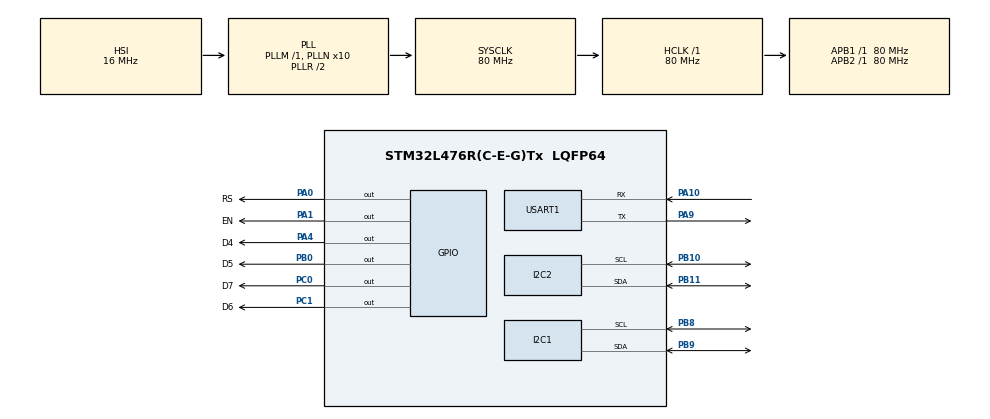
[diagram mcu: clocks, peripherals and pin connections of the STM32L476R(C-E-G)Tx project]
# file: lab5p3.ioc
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Dma.Request0=USART1_RX
Dma.Request1=USART1_TX
Dma.USART1_RX.0.Direction=DMA_PERIPH_TO_MEMORY
Dma.USART1_RX.0.Instance=DMA1_Channel5
Dma.USART1_RX.0.MemDataAlignment=DMA_MDATAALIGN_BYTE
Dma.USART1_RX.0.MemInc=DMA_MINC_ENABLE
Dma.USART1_RX.0.Mode=DMA_CIRCULAR
Dma.USART1_RX.0.PeriphDataAlignment=DMA_PDATAALIGN_BYTE
Dma.USART1_RX.0.PeriphInc=DMA_PINC_DISABLE
Dma.USART1_RX.0.Priority=DMA_PRIORITY_LOW
Dma.USART1_TX.1.Direction=DMA_MEMORY_TO_PERIPH
Dma.USART1_TX.1.Instance=DMA1_Channel4
Dma.USART1_TX.1.MemDataAlignment=DMA_MDATAALIGN_BYTE
Dma.USART1_TX.1.MemInc=DMA_MINC_ENABLE
Dma.USART1_TX.1.Mode=DMA_CIRCULAR
Dma.USART1_TX.1.PeriphDataAlignment=DMA_PDATAALIGN_BYTE
Dma.USART1_TX.1.PeriphInc=DMA_PINC_DISABLE
Dma.USART1_TX.1.Priority=DMA_PRIORITY_LOW
I2C1.Timing=0x10D19CE4
I2C2.Timing=0x10D19CE4
Mcu.Family=STM32L4
Mcu.Name=STM32L476R(C-E-G)Tx
Mcu.Package=LQFP64
NVIC.DMA1_Channel4_IRQn=true\:0\:0\:false\:false\:true\:false\:true\:true
NVIC.DMA1_Channel5_IRQn=true\:0\:0\:false\:false\:true\:false\:true\:true
NVIC.I2C1_ER_IRQn=true\:0\:0\:false\:false\:true\:true\:true\:true
NVIC.I2C1_EV_IRQn=true\:0\:0\:false\:false\:true\:true\:true\:true
NVIC.I2C2_ER_IRQn=true\:0\:0\:false\:false\:true\:true\:true\:true
NVIC.I2C2_EV_IRQn=true\:0\:0\:false\:false\:true\:true\:true\:true
NVIC.PriorityGroup=NVIC_PRIORITYGROUP_4
PA0.GPIO_Label=RS
PA0.Signal=GPIO_Output
PA1.GPIO_Label=EN
PA1.Signal=GPIO_Output
PA10.Mode=Asynchronous
PA10.Signal=USART1_RX
PA3.GPIO_Label=USART_RX
PA3.GPIO_Mode=GPIO_MODE_AF_PP
PA3.GPIO_PuPd=GPIO_NOPULL
PA3.GPIO_Speed=GPIO_SPEED_FREQ_VERY_HIGH
PA3.Signal=USART2_RX
PA4.GPIO_Label=D4
PA4.Signal=GPIO_Output
PA9.Mode=Asynchronous
PA9.Signal=USART1_TX
PB0.GPIO_Label=D5
PB0.Signal=GPIO_Output
PB10.Mode=I2C
PB10.Signal=I2C2_SCL
PB11.Mode=I2C
PB11.Signal=I2C2_SDA
PB8.Mode=I2C
PB8.Signal=I2C1_SCL
PB9.Mode=I2C
PB9.Signal=I2C1_SDA
PC0.GPIO_Label=D7
PC0.Signal=GPIO_Output
PC1.GPIO_Label=D6
PC1.Signal=GPIO_Output
ProjectManager.HeapSize=0x200
ProjectManager.StackSize=0x400
ProjectManager.TargetToolchain=STM32CubeIDE
RCC.ADCFreq_Value=64000000
RCC.AHBFreq_Value=80000000
RCC.APB1Freq_Value=80000000
RCC.APB1TimFreq_Value=80000000
RCC.APB2Freq_Value=80000000
RCC.APB2TimFreq_Value=80000000
RCC.CortexFreq_Value=80000000
RCC.HCLKFreq_Value=80000000
RCC.HSE_VALUE=8000000
RCC.HSI_VALUE=16000000
RCC.LSE_VALUE=32768
RCC.MSI_VALUE=4000000
RCC.PLLN=10
RCC.PLLSourceVirtual=RCC_PLLSOURCE_HSI
RCC.PREFETCH_ENABLE=1
RCC.SYSCLKFreq_VALUE=80000000
RCC.SYSCLKSource=RCC_SYSCLKSOURCE_PLLCLK
RCC.USBFreq_Value=64000000
RCC.VCOOutputFreq_Value=160000000
USART1.VirtualMode-Asynchronous=VM_ASYNC
board=NUCLEO-L476RG

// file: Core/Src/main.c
/* USER CODE BEGIN Header */
/**
  ******************************************************************************
  * @file           : main.c
  * @brief          : Main program body
  ******************************************************************************
  * @attention
  *
  * Copyright (c) 2025 STMicroelectronics.
  * All rights reserved.
  *
  * This software is licensed under terms that can be found in the LICENSE file
  * in the root directory of this software component.
  * If no LICENSE file comes with this software, it is provided AS-IS.
  *
  ******************************************************************************
  */
/* USER CODE END Header */
#include "main.h"

/* USER CODE BEGIN Includes */
#include "ssd1306.h"
#include "fonts.h"
#include <math.h>
/* USER CODE END Includes */

/* USER CODE BEGIN PD */
#define MPU6050_ADDR             0xD0
#define MPU6050_REG_PWR_MGMT_1   0x6B
#define MPU6050_REG_ACCEL_XOUT_H 0x3B
#define SCREEN_WIDTH  128
#define SCREEN_HEIGHT 64

/* USER CODE END PD */

I2C_HandleTypeDef hi2c1;
I2C_HandleTypeDef hi2c2;

UART_HandleTypeDef huart1;
DMA_HandleTypeDef hdma_usart1_rx;
DMA_HandleTypeDef hdma_usart1_tx;

void SystemClock_Config(void);
static void MX_GPIO_Init(void);
static void MX_DMA_Init(void);
static void MX_USART1_UART_Init(void);
static void MX_I2C1_Init(void);
static void MX_I2C2_Init(void);
/* USER CODE BEGIN PFP */
void MPU6050_Init(void);
void MPU6050_Read_Accel(int16_t *ax, int16_t *ay, int16_t *az);
/* USER CODE END PFP */

int main(void)
{

  /* MCU Configuration--------------------------------------------------------*/

  /* Reset of all peripherals, Initializes the Flash interface and the Systick. */
  HAL_Init();

  /* Configure the system clock */
  SystemClock_Config();

  /* Initialize all configured peripherals */
  MX_GPIO_Init();
  MX_DMA_Init();
  MX_USART1_UART_Init();
  MX_I2C1_Init();
  MX_I2C2_Init();
  /* USER CODE BEGIN 2 */
  SSD1306_Init();
  MPU6050_Init();
  int16_t ax_raw, ay_raw, az_raw;
  float ax, ay;
  float x = SCREEN_WIDTH / 2;
  float y = SCREEN_HEIGHT / 2;
  SSD1306_Clear();
  SSD1306_UpdateScreen();
  /* USER CODE END 2 */

  /* Infinite loop */
  while (1)
  {

    /* USER CODE BEGIN 3 */
	  MPU6050_Read_Accel(&ax_raw, &ay_raw, &az_raw);
	  ax = ax_raw / 16384.0f;
	  ay = ay_raw / 16384.0f;
	  x += ay * 2.5f;
	  y += -ax * 2.5f;
	  if (x < 0) x = 0;
	  if (x >= SCREEN_WIDTH) x = SCREEN_WIDTH - 1;
	  if (y < 0) y = 0;
	  if (y >= SCREEN_HEIGHT) y = SCREEN_HEIGHT - 1;
	  SSD1306_Clear();
	  SSD1306_DrawPixel((uint8_t)x, (uint8_t)y, 1);
	  SSD1306_UpdateScreen();
	  HAL_Delay(50);
  }
  /* USER CODE END 3 */
}

void SystemClock_Config(void)
{
  RCC_OscInitTypeDef RCC_OscInitStruct = {0};
  RCC_ClkInitTypeDef RCC_ClkInitStruct = {0};

  /** Configure the main internal regulator output voltage
  */
  if (HAL_PWREx_ControlVoltageScaling(PWR_REGULATOR_VOLTAGE_SCALE1) != HAL_OK)
  {
    Error_Handler();
  }

  /** Initializes the RCC Oscillators according to the specified parameters
  * in the RCC_OscInitTypeDef structure.
  */
  RCC_OscInitStruct.OscillatorType = RCC_OSCILLATORTYPE_HSI;
  RCC_OscInitStruct.HSIState = RCC_HSI_ON;
  RCC_OscInitStruct.HSICalibrationValue = RCC_HSICALIBRATION_DEFAULT;
  RCC_OscInitStruct.PLL.PLLState = RCC_PLL_ON;
  RCC_OscInitStruct.PLL.PLLSource = RCC_PLLSOURCE_HSI;
  RCC_OscInitStruct.PLL.PLLM = 1;
  RCC_OscInitStruct.PLL.PLLN = 10;
  RCC_OscInitStruct.PLL.PLLP = RCC_PLLP_DIV7;
  RCC_OscInitStruct.PLL.PLLQ = RCC_PLLQ_DIV2;
  RCC_OscInitStruct.PLL.PLLR = RCC_PLLR_DIV2;
  if (HAL_RCC_OscConfig(&RCC_OscInitStruct) != HAL_OK)
  {
    Error_Handler();
  }

  /** Initializes the CPU, AHB and APB buses clocks
  */
  RCC_ClkInitStruct.ClockType = RCC_CLOCKTYPE_HCLK|RCC_CLOCKTYPE_SYSCLK
                              |RCC_CLOCKTYPE_PCLK1|RCC_CLOCKTYPE_PCLK2;
  RCC_ClkInitStruct.SYSCLKSource = RCC_SYSCLKSOURCE_PLLCLK;
  RCC_ClkInitStruct.AHBCLKDivider = RCC_SYSCLK_DIV1;
  RCC_ClkInitStruct.APB1CLKDivider = RCC_HCLK_DIV1;
  RCC_ClkInitStruct.APB2CLKDivider = RCC_HCLK_DIV1;

  if (HAL_RCC_ClockConfig(&RCC_ClkInitStruct, FLASH_LATENCY_4) != HAL_OK)
  {
    Error_Handler();
  }
}

static void MX_I2C1_Init(void)
{

  hi2c1.Instance = I2C1;
  hi2c1.Init.Timing = 0x10D19CE4;
  hi2c1.Init.OwnAddress1 = 0;
  hi2c1.Init.AddressingMode = I2C_ADDRESSINGMODE_7BIT;
  hi2c1.Init.DualAddressMode = I2C_DUALADDRESS_DISABLE;
  hi2c1.Init.OwnAddress2 = 0;
  hi2c1.Init.OwnAddress2Masks = I2C_OA2_NOMASK;
  hi2c1.Init.GeneralCallMode = I2C_GENERALCALL_DISABLE;
  hi2c1.Init.NoStretchMode = I2C_NOSTRETCH_DISABLE;
  if (HAL_I2C_Init(&hi2c1) != HAL_OK)
  {
    Error_Handler();
  }

  /** Configure Analogue filter
  */
  if (HAL_I2CEx_ConfigAnalogFilter(&hi2c1, I2C_ANALOGFILTER_ENABLE) != HAL_OK)
  {
    Error_Handler();
  }

  /** Configure Digital filter
  */
  if (HAL_I2CEx_ConfigDigitalFilter(&hi2c1, 0) != HAL_OK)
  {
    Error_Handler();
  }

}

static void MX_I2C2_Init(void)
{

  hi2c2.Instance = I2C2;
  hi2c2.Init.Timing = 0x10D19CE4;
  hi2c2.Init.OwnAddress1 = 0;
  hi2c2.Init.AddressingMode = I2C_ADDRESSINGMODE_7BIT;
  hi2c2.Init.DualAddressMode = I2C_DUALADDRESS_DISABLE;
  hi2c2.Init.OwnAddress2 = 0;
  hi2c2.Init.OwnAddress2Masks = I2C_OA2_NOMASK;
  hi2c2.Init.GeneralCallMode = I2C_GENERALCALL_DISABLE;
  hi2c2.Init.NoStretchMode = I2C_NOSTRETCH_DISABLE;
  if (HAL_I2C_Init(&hi2c2) != HAL_OK)
  {
    Error_Handler();
  }

  /** Configure Analogue filter
  */
  if (HAL_I2CEx_ConfigAnalogFilter(&hi2c2, I2C_ANALOGFILTER_ENABLE) != HAL_OK)
  {
    Error_Handler();
  }

  /** Configure Digital filter
  */
  if (HAL_I2CEx_ConfigDigitalFilter(&hi2c2, 0) != HAL_OK)
  {
    Error_Handler();
  }

}

static void MX_USART1_UART_Init(void)
{

  huart1.Instance = USART1;
  huart1.Init.BaudRate = 115200;
  huart1.Init.WordLength = UART_WORDLENGTH_8B;
  huart1.Init.StopBits = UART_STOPBITS_1;
  huart1.Init.Parity = UART_PARITY_NONE;
  huart1.Init.Mode = UART_MODE_TX_RX;
  huart1.Init.HwFlowCtl = UART_HWCONTROL_NONE;
  huart1.Init.OverSampling = UART_OVERSAMPLING_16;
  huart1.Init.OneBitSampling = UART_ONE_BIT_SAMPLE_DISABLE;
  huart1.AdvancedInit.AdvFeatureInit = UART_ADVFEATURE_NO_INIT;
  if (HAL_UART_Init(&huart1) != HAL_OK)
  {
    Error_Handler();
  }

}

static void MX_DMA_Init(void)
{

  /* DMA controller clock enable */
  __HAL_RCC_DMA1_CLK_ENABLE();

  /* DMA interrupt init */
  /* DMA1_Channel4_IRQn interrupt configuration */
  HAL_NVIC_SetPriority(DMA1_Channel4_IRQn, 0, 0);
  HAL_NVIC_EnableIRQ(DMA1_Channel4_IRQn);
  /* DMA1_Channel5_IRQn interrupt configuration */
  HAL_NVIC_SetPriority(DMA1_Channel5_IRQn, 0, 0);
  HAL_NVIC_EnableIRQ(DMA1_Channel5_IRQn);

}

static void MX_GPIO_Init(void)
{
  GPIO_InitTypeDef GPIO_InitStruct = {0};

  /* GPIO Ports Clock Enable */
  __HAL_RCC_GPIOC_CLK_ENABLE();
  __HAL_RCC_GPIOA_CLK_ENABLE();
  __HAL_RCC_GPIOB_CLK_ENABLE();

  /*Configure GPIO pin Output Level */
  HAL_GPIO_WritePin(GPIOC, D7_Pin|D6_Pin, GPIO_PIN_RESET);

  /*Configure GPIO pin Output Level */
  HAL_GPIO_WritePin(GPIOA, RS_Pin|EN_Pin|D4_Pin, GPIO_PIN_RESET);

  /*Configure GPIO pin Output Level */
  HAL_GPIO_WritePin(D5_GPIO_Port, D5_Pin, GPIO_PIN_RESET);

  /*Configure GPIO pins : D7_Pin D6_Pin */
  GPIO_InitStruct.Pin = D7_Pin|D6_Pin;
  GPIO_InitStruct.Mode = GPIO_MODE_OUTPUT_PP;
  GPIO_InitStruct.Pull = GPIO_NOPULL;
  GPIO_InitStruct.Speed = GPIO_SPEED_FREQ_LOW;
  HAL_GPIO_Init(GPIOC, &GPIO_InitStruct);

  /*Configure GPIO pins : RS_Pin EN_Pin D4_Pin */
  GPIO_InitStruct.Pin = RS_Pin|EN_Pin|D4_Pin;
  GPIO_InitStruct.Mode = GPIO_MODE_OUTPUT_PP;
  GPIO_InitStruct.Pull = GPIO_NOPULL;
  GPIO_InitStruct.Speed = GPIO_SPEED_FREQ_LOW;
  HAL_GPIO_Init(GPIOA, &GPIO_InitStruct);

  /*Configure GPIO pin : USART_RX_Pin */
  GPIO_InitStruct.Pin = USART_RX_Pin;
  GPIO_InitStruct.Mode = GPIO_MODE_AF_PP;
  GPIO_InitStruct.Pull = GPIO_NOPULL;
  GPIO_InitStruct.Speed = GPIO_SPEED_FREQ_VERY_HIGH;
  GPIO_InitStruct.Alternate = GPIO_AF7_USART2;
  HAL_GPIO_Init(USART_RX_GPIO_Port, &GPIO_InitStruct);

  /*Configure GPIO pin : D5_Pin */
  GPIO_InitStruct.Pin = D5_Pin;
  GPIO_InitStruct.Mode = GPIO_MODE_OUTPUT_PP;
  GPIO_InitStruct.Pull = GPIO_NOPULL;
  GPIO_InitStruct.Speed = GPIO_SPEED_FREQ_LOW;
  HAL_GPIO_Init(D5_GPIO_Port, &GPIO_InitStruct);

}

/* USER CODE BEGIN 4 */
void MPU6050_Init(void)
{
    uint8_t data[2];
    data[0] = MPU6050_REG_PWR_MGMT_1;
    data[1] = 0x00; // wake up
    HAL_I2C_Master_Transmit(&hi2c1, MPU6050_ADDR, data, 2, HAL_MAX_DELAY);
    HAL_Delay(100);
}

void MPU6050_Read_Accel(int16_t *ax, int16_t *ay, int16_t *az)
{
    uint8_t reg = MPU6050_REG_ACCEL_XOUT_H;
    uint8_t buf[6];
    HAL_I2C_Master_Transmit(&hi2c1, MPU6050_ADDR, &reg, 1, HAL_MAX_DELAY);
    HAL_I2C_Master_Receive(&hi2c1, MPU6050_ADDR, buf, 6, HAL_MAX_DELAY);

    *ax = (int16_t)(buf[0] << 8 | buf[1]);
    *ay = (int16_t)(buf[2] << 8 | buf[3]);
    *az = (int16_t)(buf[4] << 8 | buf[5]);
}

/* USER CODE END 4 */

void Error_Handler(void)
{
  __disable_irq();
  while (1)
  {
  }
}
